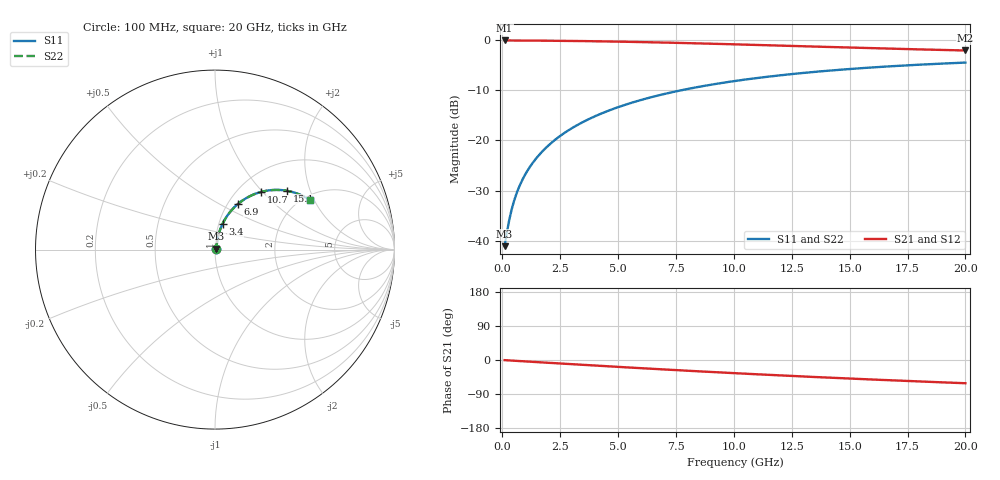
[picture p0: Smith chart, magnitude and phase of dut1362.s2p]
! Touchstone file exported from HFSS 2026.1.0
!  File:  C:/ffzhzh/LocalFiles/Ansys_Project_Files/temp_train_TMRDL_1362_1783165721_51560.aedt
!  Generated:  07:50:06 PM Jul  4, 2026
!  Design:  TMRDL
!  Project:  temp_train_TMRDL_1362_1783165721_51560
! Variables:
!  h_bsmrdl = 2um
!  h_ox = 20um
!  h_rdl = 5um
!  h_sub = 80um
!  h_tmrdl = 2.43um
!  h_tsv = 80um
!  h_via = 3um
!  l_bsmrdl = 300um
!  l_sub = 1301.15um
!  l_tmrdl = 901.15um
!  m_sub = 200um
!  pitch = 56.06um
!  r_tsv = 6um
!  s_tmrdl = 10um
!  w_bsmrdl = 18um
!  w_sub = 500um
!  w_tmrdl = 17.87um
!  x_tsv_center1 = 910.085um
!  x_tsv_center2 = 1228.085um
!  x_tsv_center3 = 2147.105um
!  x_tsv_center4 = 2465.105um
!  x_tsv_center5 = 3384.125um
!  x_tsv_center6 = 3702.125um
# GHz S MA R 50.000000
! Terminal data exported
! Port[1] = TM_RDL1_1_T1
! Port[2] = TM_RDL1_1_T2
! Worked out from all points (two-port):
!   200 points, 100 MHz to 20 GHz, reference 50 ohm
!   highest |S21| = -0.06 dB at 100 MHz (marker M1); lowest = -2.1 dB at 20 GHz (marker M2)
!   |S21| within 3 dB of the highest: start of sweep to end of sweep
!   lowest |S11| = -41.1 dB at 100 MHz (marker M3), VSWR 1.02, Z = 50.7 + j0.477 ohm
!   |S11| at or under -10 dB: start of sweep to 7.725 GHz
!   |S22| runs from -41.1 to -4.5 dB; largest |S21 - S12| = 4.3e-15
!   S11 on the Smith chart (normalised r, x): 100 MHz: 1.01, +0.01; 3.4 GHz: 1.04, +0.30; 6.9 GHz: 1.12, +0.62; 10.7 GHz: 1.27, +0.98; 15.1 GHz: 1.57, +1.40; 20 GHz: 2.17, +1.85
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0.1  0.008821 32.2  0.9926 -0.4  0.9926 -0.4  0.008821 32.2
! Gamma 0 0 0 0
! Port Impedance 50 0 50 0
0.3  0.0161 60.1  0.9922 -1.2  0.9922 -1.2  0.0161 60.1
0.4  0.02031 65.5  0.9919 -1.5  0.9919 -1.5  0.02031 65.5
0.5  0.0246 68.8  0.9916 -1.9  0.9916 -1.9  0.0246 68.8
0.6  0.02891 71.0  0.9913 -2.3  0.9913 -2.3  0.02891 71.0
0.8  0.03754 73.7  0.9907 -3.0  0.9907 -3.0  0.03754 73.7
1.1  0.05049 75.7  0.9898 -4.1  0.9898 -4.1  0.05049 75.6
1.6  0.07209 76.7  0.9882 -5.9  0.9882 -5.9  0.07209 76.6
2.1  0.09367 76.4  0.9862 -7.8  0.9862 -7.8  0.09367 76.4
2.7  0.1194 75.4  0.9832 -10.0  0.9832 -10.0  0.1194 75.4
3.4  0.149 73.7  0.979 -12.5  0.979 -12.5  0.149 73.7
3.5  0.1532 73.4  0.9783 -12.8  0.9783 -12.8  0.1532 73.4
5  0.2145 69.1  0.9663 -18.2  0.9663 -18.2  0.2145 69.0
6.8  0.2833 63.4  0.9479 -24.3  0.9479 -24.3  0.2833 63.4
6.9  0.2869 63.1  0.9468 -24.7  0.9468 -24.7  0.2869 63.1
8.4  0.3392 58.4  0.929 -29.6  0.929 -29.6  0.3392 58.4
10.1  0.3929 53.3  0.9072 -35.0  0.9072 -35.0  0.3929 53.2
10.7  0.4104 51.5  0.8994 -36.8  0.8994 -36.8  0.4104 51.4
13.4  0.4803 43.9  0.8638 -44.6  0.8638 -44.6  0.4803 43.8
15.1  0.5172 39.3  0.8423 -49.2  0.8423 -49.2  0.5172 39.3
16.7  0.5474 35.3  0.8231 -53.4  0.8231 -53.4  0.5474 35.2
20  0.5971 27.5  0.7883 -61.3  0.7883 -61.3  0.5971 27.4
